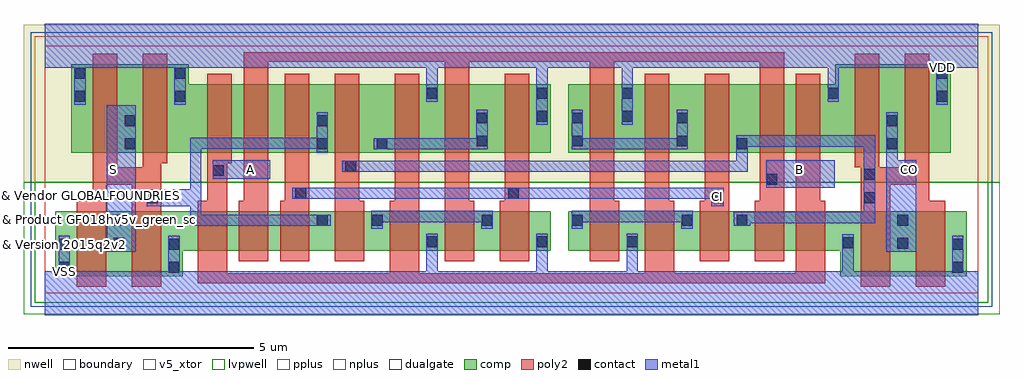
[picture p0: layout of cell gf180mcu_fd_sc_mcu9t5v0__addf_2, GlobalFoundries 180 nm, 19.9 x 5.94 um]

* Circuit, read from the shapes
.subckt gf180mcu_fd_sc_mcu9t5v0__addf_2 A B CI CO S VDD VSS
XM1 S n1 VSS VSUBS nfet_05v0 w=1.32u l=0.6u m=2
XM2 n2 A VSS VSUBS nfet_05v0 w=0.8u l=0.6u
XM3 n3 B n2 VSUBS nfet_05v0 w=0.8u l=0.6u
XM4 n1 CI n3 VSUBS nfet_05v0 w=0.8u l=0.6u
XM5 n4 n5 n1 VSUBS nfet_05v0 w=0.8u l=0.6u
XM6 VSS A n4 VSUBS nfet_05v0 w=0.8u l=0.6u
XM7 n4 B VSS VSUBS nfet_05v0 w=0.8u l=0.6u
XM8 VSS CI n4 VSUBS nfet_05v0 w=0.8u l=0.6u
XM9 VSS B n6 VSUBS nfet_05v0 w=0.8u l=0.6u
XM10 n6 A VSS VSUBS nfet_05v0 w=0.8u l=0.6u
XM11 n5 CI n6 VSUBS nfet_05v0 w=0.8u l=0.6u
XM12 n7 B n5 VSUBS nfet_05v0 w=0.8u l=0.6u
XM13 VSS A n7 VSUBS nfet_05v0 w=0.8u l=0.6u
XM14 CO n5 VSS VSUBS nfet_05v0 w=1.32u l=0.6u m=2
XM15 S n1 VDD n8 pfet_05v0 w=1.8u l=0.5u m=2
XM16 n9 A VDD n8 pfet_05v0 w=1.39u l=0.5u
XM17 n10 B n9 n8 pfet_05v0 w=1.39u l=0.5u
XM18 n1 CI n10 n8 pfet_05v0 w=1.39u l=0.5u
XM19 n11 n5 n1 n8 pfet_05v0 w=1.39u l=0.5u
XM20 VDD A n11 n8 pfet_05v0 w=1.39u l=0.5u
XM21 n11 B VDD n8 pfet_05v0 w=1.39u l=0.5u
XM22 VDD CI n11 n8 pfet_05v0 w=1.39u l=0.5u
XM23 VDD B n12 n8 pfet_05v0 w=1.39u l=0.5u
XM24 n12 A VDD n8 pfet_05v0 w=1.39u l=0.5u
XM25 n5 CI n12 n8 pfet_05v0 w=1.39u l=0.5u
XM26 n13 B n5 n8 pfet_05v0 w=1.39u l=0.5u
XM27 VDD A n13 n8 pfet_05v0 w=1.39u l=0.5u
XM28 CO n5 VDD n8 pfet_05v0 w=1.8u l=0.5u m=2
.ends

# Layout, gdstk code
import gdstk
lib = gdstk.Library(unit=1e-6, precision=1e-09)
def R(c, l, rs):  # rectangles x0, y0, x1, y1
    for r in rs: c.add(gdstk.rectangle(r[:2], r[2:], *l))
def P(c, l, *ps):  # polygons
    for p in ps: c.add(gdstk.Polygon(p, *l))
boundary = (0, 0)
nwell = (21, 0)
comp = (22, 0)
poly2 = (30, 0)
pplus = (31, 0)
nplus = (32, 0)
contact = (33, 0)
metal1 = (34, 0)
dualgate = (55, 0)
v5_xtor = (112, 1)
lvpwell = (204, 0)

gf180mcu_fd_sc_mcu9t5v0_ = lib.new_cell('gf180mcu_fd_sc_mcu9t5v0__addf_2')
R(gf180mcu_fd_sc_mcu9t5v0_, boundary, [(0,0,19.04,5.04)])
R(gf180mcu_fd_sc_mcu9t5v0_, nwell, [(-0.43,2.265,19.47,5.47)])
P(gf180mcu_fd_sc_mcu9t5v0_, comp, [(0.22,0.345),(0.22,1.665),(10.32,1.665),(10.32,0.865),(2.82,0.865),(2.82,0.345)],
  [(0.54,2.865),(0.54,4.665),(2.94,4.665),(2.94,4.255),(10.32,4.255),(10.32,2.865)],
  [(10.68,2.865),(10.68,4.255),(16.12,4.255),(16.12,4.665),(18.48,4.665),(18.48,2.865)],
  [(16.22,0.345),(16.22,0.865),(10.68,0.865),(10.68,1.665),(18.8,1.665),(18.8,0.345)])
P(gf180mcu_fd_sc_mcu9t5v0_, poly2, [(0.66,0.125),(0.66,1.885),(0.98,1.885),(0.98,4.885),(1.48,4.885),(1.48,2.565),(2,2.565),(2,4.885),(2.5,4.885),(2.5,2.645),(2.38,2.645),(2.38,0.125),(1.78,0.125),(1.78,2.205),(1.26,2.205),(1.26,0.125)],
  [(4.8,0.645),(4.8,1.885),(4.9,1.885),(4.9,4.475),(5.4,4.475),(5.4,0.645)],
  [(5.92,0.645),(5.92,4.475),(6.42,4.475),(6.42,1.885),(6.52,1.885),(6.52,0.645)],
  [(9.28,0.645),(9.28,1.885),(9.38,1.885),(9.38,4.475),(9.88,4.475),(9.88,0.645)],
  [(13.36,0.645),(13.36,1.885),(13.46,1.885),(13.46,4.475),(13.96,4.475),(13.96,0.645)],
  [(3.96,0.645),(3.96,1.885),(4.06,1.885),(4.06,4.915),(15.08,4.915),(15.08,0.645),(14.48,0.645),(14.48,1.885),(14.58,1.885),(14.58,4.715),(11.62,4.715),(11.62,1.885),(11.72,1.885),(11.72,0.645),(11.12,0.645),(11.12,4.715),(8.66,4.715),(8.66,1.885),(8.76,1.885),(8.76,0.645),(8.16,0.645),(8.16,4.715),(4.56,4.715),(4.56,0.645)],
  [(3.12,0.205),(3.12,1.885),(3.32,1.885),(3.32,4.475),(3.82,4.475),(3.82,2.645),(3.72,2.645),(3.72,0.405),(7.04,0.405),(7.04,1.885),(7.14,1.885),(7.14,4.475),(7.64,4.475),(7.64,0.405),(12.24,0.405),(12.24,4.475),(12.74,4.475),(12.74,1.885),(12.84,1.885),(12.84,0.405),(15.32,0.405),(15.32,4.475),(15.82,4.475),(15.82,1.885),(15.92,1.885),(15.92,0.205)],
  [(16.64,0.125),(16.64,2.565),(16.52,2.565),(16.52,4.885),(17.02,4.885),(17.02,2.565),(17.54,2.565),(17.54,4.885),(18.04,4.885),(18.04,1.885),(18.36,1.885),(18.36,0.125),(17.76,0.125),(17.76,2.205),(17.24,2.205),(17.24,0.125)])
R(gf180mcu_fd_sc_mcu9t5v0_, pplus, [(-0.2,2.265,19.24,5.24)])
R(gf180mcu_fd_sc_mcu9t5v0_, nplus, [(-0.2,-0.2,19.24,2.265)])
R(gf180mcu_fd_sc_mcu9t5v0_, contact, [(0.29,0.415,0.51,0.635), (2.53,0.415,2.75,0.635), (18.51,0.415,18.73,0.635), (0.29,0.885,0.51,1.105), (2.53,0.885,2.75,1.105), (18.51,0.885,18.73,1.105), (1.41,0.905,1.63,1.125), (17.39,0.905,17.61,1.125), (16.27,0.915,16.49,1.135), (7.79,0.935,8.01,1.155), (10.03,0.935,10.25,1.155), (11.87,0.935,12.09,1.155), (1.41,1.375,1.63,1.595), (5.55,1.375,5.77,1.595), (6.67,1.375,6.89,1.595), (8.91,1.375,9.13,1.595), (10.75,1.375,10.97,1.595), (12.99,1.375,13.21,1.595), (14.11,1.375,14.33,1.595), (17.39,1.375,17.61,1.595), (2.09,1.835,2.31,2.055), (13.625,1.835,13.845,2.055), (16.71,1.835,16.93,2.055), (5.11,1.925,5.33,2.145), (9.45,1.925,9.67,2.145), (14.715,2.21,14.935,2.43), (16.71,2.315,16.93,2.535), (3.43,2.39,3.65,2.61), (6.13,2.475,6.35,2.695), (1.63,2.935,1.85,3.155), (5.55,2.935,5.77,3.155), (6.77,2.935,6.99,3.155), (14.11,2.935,14.33,3.155), (17.17,2.935,17.39,3.155), (8.81,2.99,9.03,3.21), (10.75,2.99,10.97,3.21), (12.89,2.99,13.11,3.21), (1.63,3.405,1.85,3.625), (5.55,3.405,5.77,3.625), (17.17,3.405,17.39,3.625), (8.81,3.46,9.03,3.68), (10.75,3.46,10.97,3.68), (12.89,3.46,13.11,3.68), (10.03,3.495,10.25,3.715), (11.77,3.495,11.99,3.715), (0.61,3.905,0.83,4.125), (2.65,3.905,2.87,4.125), (18.19,3.905,18.41,4.125), (7.79,3.965,8.01,4.185), (10.03,3.965,10.25,4.185), (11.77,3.965,11.99,4.185), (15.97,3.965,16.19,4.185), (0.61,4.375,0.83,4.595), (2.65,4.375,2.87,4.595), (18.19,4.375,18.41,4.595)])
R(gf180mcu_fd_sc_mcu9t5v0_, metal1, [(1.27,0.845,1.855,3.83), (14.71,2.15,16.11,2.71), (3.425,2.33,4.605,2.71)])
P(gf180mcu_fd_sc_mcu9t5v0_, metal1, [(2.965,1.37),(2.965,1.775),(2.085,1.775),(2.085,2.115),(2.965,2.115),(2.965,3.17),(5.545,3.17),(5.545,3.685),(5.775,3.685),(5.775,2.875),(5.545,2.875),(5.545,2.94),(3.195,2.94),(3.195,1.6),(5.83,1.6),(5.83,1.37)],
  [(6.71,2.93),(6.71,3.16),(8.805,3.16),(8.805,3.74),(9.035,3.74),(9.035,2.93)],
  [(6.665,1.315),(6.665,1.675),(9.135,1.675),(9.135,1.315),(8.905,1.315),(8.905,1.445),(6.895,1.445),(6.895,1.315)],
  [(10.745,2.93),(10.745,3.74),(10.975,3.74),(10.975,3.16),(12.885,3.16),(12.885,3.74),(13.115,3.74),(13.115,2.93)],
  [(10.745,1.315),(10.745,1.675),(13.215,1.675),(13.215,1.315),(12.985,1.315),(12.985,1.445),(10.975,1.445),(10.975,1.315)],
  [(13.59,1.77),(13.59,1.92),(5.05,1.92),(5.05,2.15),(13.85,2.15),(13.85,1.77)],
  [(14.05,1.37),(14.05,1.655),(16.705,1.655),(16.705,2.985),(14.335,2.985),(14.335,2.47),(6.07,2.47),(6.07,2.7),(14.105,2.7),(14.105,3.215),(16.935,3.215),(16.935,1.425),(14.39,1.425),(14.39,1.37)],
  [(17.165,0.845),(17.165,3.685),(17.395,3.685),(17.395,2.71),(17.77,2.71),(17.77,0.845)],
  [(0,-0.45),(0,0.45),(0.285,0.45),(0.285,1.165),(0.515,1.165),(0.515,0.45),(2.525,0.45),(2.525,1.165),(2.755,1.165),(2.755,0.45),(7.785,0.45),(7.785,1.215),(8.015,1.215),(8.015,0.45),(10.025,0.45),(10.025,1.215),(10.255,1.215),(10.255,0.45),(11.865,0.45),(11.865,1.215),(12.095,1.215),(12.095,0.45),(16.265,0.45),(16.265,1.195),(16.495,1.195),(16.495,0.45),(18.505,0.45),(18.505,1.165),(18.735,1.165),(18.735,0.45),(19.04,0.45),(19.04,-0.45)],
  [(10.025,3.435),(10.025,4.59),(8.015,4.59),(8.015,3.905),(7.785,3.905),(7.785,4.59),(2.875,4.59),(2.875,3.845),(2.645,3.845),(2.645,4.59),(0.835,4.59),(0.835,3.845),(0.605,3.845),(0.605,4.59),(0,4.59),(0,5.49),(19.04,5.49),(19.04,4.59),(18.415,4.59),(18.415,3.845),(18.185,3.845),(18.185,4.59),(16.195,4.59),(16.195,3.905),(15.965,3.905),(15.965,4.59),(11.995,4.59),(11.995,3.435),(11.765,3.435),(11.765,4.59),(10.255,4.59),(10.255,3.435)])
R(gf180mcu_fd_sc_mcu9t5v0_, dualgate, [(-0.28,-0.28,19.32,5.32)])
R(gf180mcu_fd_sc_mcu9t5v0_, v5_xtor, [(0,0,19.04,5.04)])
R(gf180mcu_fd_sc_mcu9t5v0_, lvpwell, [(-0.43,-0.43,19.47,2.265)])
gf180mcu_fd_sc_mcu9t5v0_.add(gdstk.Label('A', (4.2,2.52), layer=34, texttype=10))
gf180mcu_fd_sc_mcu9t5v0_.add(gdstk.Label('B', (15.4,2.52), layer=34, texttype=10))
gf180mcu_fd_sc_mcu9t5v0_.add(gdstk.Label('CI', (13.72,1.96), layer=34, texttype=10))
gf180mcu_fd_sc_mcu9t5v0_.add(gdstk.Label('CO', (17.64,2.52), layer=34, texttype=10))
gf180mcu_fd_sc_mcu9t5v0_.add(gdstk.Label('S', (1.4,2.52), layer=34, texttype=10))
gf180mcu_fd_sc_mcu9t5v0_.add(gdstk.Label('VDD', (18.3,4.59), layer=34, texttype=10))
gf180mcu_fd_sc_mcu9t5v0_.add(gdstk.Label('VSS', (0.4,0.45), layer=34, texttype=10))
gf180mcu_fd_sc_mcu9t5v0_.add(gdstk.Label('& Vendor GLOBALFOUNDRIES', (0,2), layer=63, texttype=63))
gf180mcu_fd_sc_mcu9t5v0_.add(gdstk.Label('& Product GF018hv5v_green_sc9', (0,1.5), layer=63, texttype=63))
gf180mcu_fd_sc_mcu9t5v0_.add(gdstk.Label('& Version 2015q2v2', (0,1), layer=63, texttype=63))
gf180mcu_fd_sc_mcu9t5v0_.add(gdstk.Label('& Metric 1.00', (0,0.5), layer=63, texttype=63))

lib.write_gds('gf180mcu_fd_sc_mcu9t5v0__addf_2.gds')
